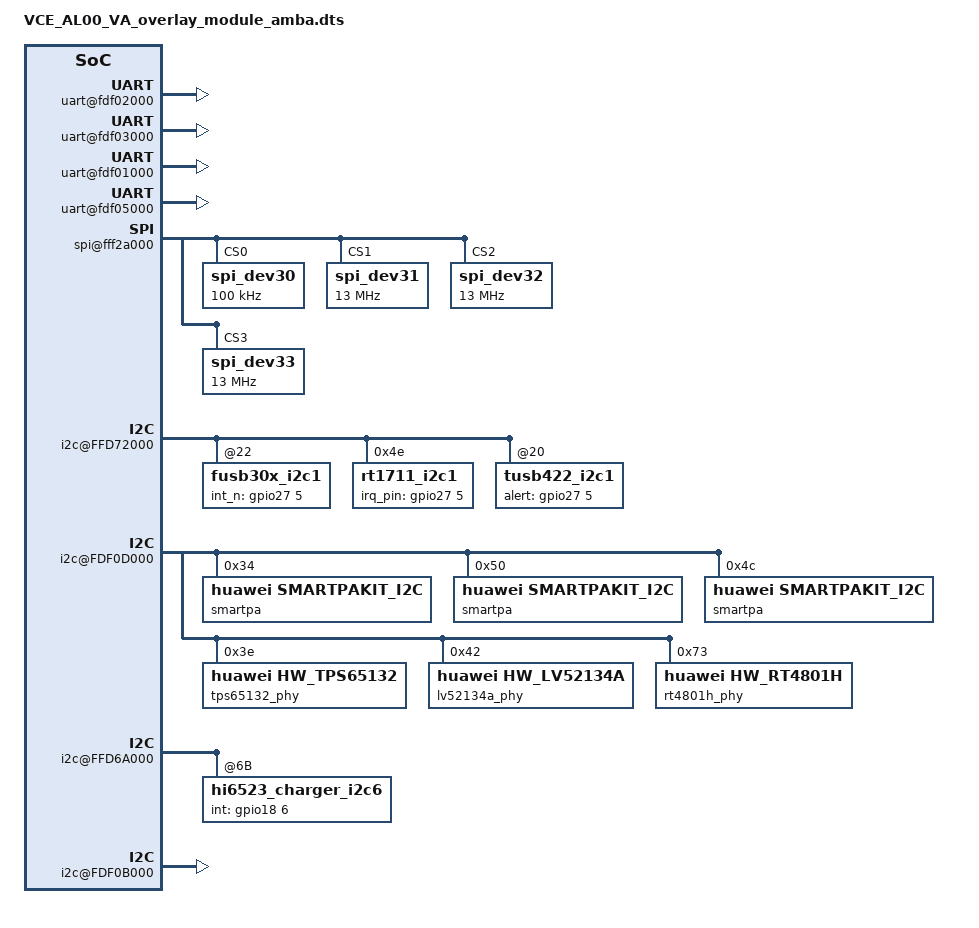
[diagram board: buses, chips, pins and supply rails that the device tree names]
&amba {
		compatible = "arm,amba-bus";
		ranges;

		/* rtc@FFF04000 {
				interrupts = <0 46 0x4>;
				clocks = <&pclk>;
				clock-names = "apb_pclk";
				status = "ok";
		};*/

		/*rtc@FFF05000 {
				interrupts = <0 47 0x4>;
				clocks = <&pclk>;
				clock-names = "apb_pclk";
				status = "ok";
		};*/

		watchdog0 {
			default-timeout = <24>;
			interrupts = <0 44 4>;
			clocks = <&pclk_gate_wd0 &pclk>;
			clock-names = "pclk_wd0", "apb_pclk";
			status = "ok";
		};

                watchdog@ffd7c000{
                        status = "ok";
                };

		/*wdt1@e8a07000 {
			interrupts = <0 45 4>;
			clocks = <&pclk_gate_wd0 &pclk>;
			clock-names = "pclk_wd0", "apb_pclk";
		};*/

		uart@fdf02000 {
			pinctrl-names = "default", "idle";
			pinctrl-0 = <&gpio035_pmx_func &gpio036_pmx_func &gpio035_cfg_func &gpio036_cfg_func>;
			pinctrl-1 = <&gpio035_pmx_idle &gpio036_pmx_idle &gpio035_cfg_idle &gpio036_cfg_idle>;
			dma-names = "", "";
			dmas = <>;
			clock-rate = <0 19200000>;
			status = "ok";
		};

		uart@fdf00000 {
			pinctrl-names = "default", "idle";
			pinctrl-0 = <>;
			pinctrl-1 = <>;
			clock-rate = <0 111000000>;
			status = "disabled";
			reset-enable-flag = <1>;
		};

		uart@fdf03000 {
			pinctrl-names = "default", "idle";
			pinctrl-0 = <>;
			pinctrl-1 = <>;
			clock-rate = <0 111000000>;
			status = "ok";
			reset-enable-flag = <1>;
		};

		uart@ffd74000 {
			pinctrl-names = "default", "idle";
			pinctrl-0 = <>;
			pinctrl-1 = <>;
			clock-rate = <0 100000000>;
			status = "disabled";
			reset-enable-flag = <0>;
		};

		uart@fdf01000 {
			pinctrl-names = "default", "idle";
			pinctrl-0 = <&gpio043_pmx_func &gpio044_pmx_func &gpio045_pmx_func &gpio046_pmx_func &gpio043_cfg_func &gpio044_cfg_func &gpio045_cfg_func &gpio046_cfg_func>;
			pinctrl-1 = <&gpio043_pmx_idle &gpio044_pmx_idle &gpio045_pmx_idle &gpio046_pmx_idle &gpio043_cfg_idle &gpio044_cfg_idle &gpio045_cfg_idle &gpio046_cfg_idle>;
			clock-rate = <0 111000000>;
			status = "ok";
			reset-enable-flag = <1>;
		};

		uart@fdf05000 {
			pinctrl-names = "default", "idle";
			pinctrl-0 = <&gpio039_pmx_func &gpio040_pmx_func &gpio041_pmx_func &gpio042_pmx_func &gpio039_cfg_func &gpio040_cfg_func &gpio041_cfg_func &gpio042_cfg_func>;
			pinctrl-1 = <&gpio039_pmx_idle &gpio040_pmx_idle &gpio041_pmx_idle &gpio042_pmx_idle &gpio039_cfg_idle &gpio040_cfg_idle &gpio041_cfg_idle &gpio042_cfg_idle>;
			clock-rate = <0 111000000>;
			status = "ok";
			reset-enable-flag = <1>;
		};

		uart@fff32000 {
			pinctrl-names = "default", "idle";
			pinctrl-0 = <&gpio037_pmx_func &gpio038_pmx_func &gpio037_cfg_func &gpio038_cfg_func>;
			pinctrl-1 = <&gpio037_pmx_idle &gpio038_pmx_idle &gpio037_cfg_idle &gpio038_cfg_idle>;
			clock-rate = <0 19200000>;
			console-fifo-enable = <1>;
			console-fifo-size = <262144>;/* 256k */
			console-fifo-cpuon = <3>;
		};

		dx_cc63p@fdf0e000 {
			interrupt-parent = <&gic>;
			interrupts = <0 135 4>;
			status = "ok";
		};

		spi@ffd70000 {
			status = "disabled";
			hardware-mutex = <0x01>;
			clock-rate = <0 134400000>;
			spi_dev0@0 {
					spi-max-frequency = <100000>;
					pl022,com-mode = <0>;
					pl022,interface = <0>;
					pl022,rx-level-trig = <3>;
					pl022,tx-level-trig = <3>;
					pl022,ctrl-len = <7>;
					pl022,wait-state = <0>;
					pl022,duplex = <0>;
					pl022,slave-tx-disable = <0>;
			};

			spi_dev1@1 {
					compatible = "spi_dev1";
					spi-max-frequency = <13000000>;
					reg = <1>;
					pl022,com-mode = <1>;
					pl022,interface = <0>;
					pl022,rx-level-trig = <3>;
					pl022,tx-level-trig = <3>;
					pl022,ctrl-len = <7>;
					pl022,wait-state = <0>;
					pl022,duplex = <0>;
					pl022,slave-tx-disable = <0>;
			};

			spi_dev2@2 {

					spi-max-frequency = <13000000>;
					reg = <2>;
					pl022,com-mode = <2>;
					pl022,interface = <0>;
					pl022,rx-level-trig = <3>;
					pl022,tx-level-trig = <3>;
					pl022,ctrl-len = <7>;
					pl022,wait-state = <0>;
					pl022,duplex = <0>;
					pl022,slave-tx-disable = <0>;
			};

			spi_dev3@3 {
					spi-max-frequency = <13000000>;
					reg = <3>;
					pl022,com-mode = <0>;
					pl022,interface = <0>;
					pl022,rx-level-trig = <3>;
					pl022,tx-level-trig = <3>;
					pl022,ctrl-len = <7>;
					pl022,wait-state = <0>;
					pl022,duplex = <0>;
					pl022,slave-tx-disable = <0>;
			};
		};

		spi@fdf08000 {
			status = "disabled";
			clock-rate = <19200000>;
			pinctrl-names = "default", "idle";
			pinctrl-0 = <&gpio008_pmx_func &gpio009_pmx_func &gpio010_pmx_func &gpio008_cfg_func &gpio009_cfg_func
					&gpio010_cfg_func>;
			pinctrl-1 = <&gpio008_pmx_idle &gpio009_pmx_idle &gpio010_pmx_idle &gpio008_cfg_idle &gpio009_cfg_idle
					&gpio010_cfg_idle>;
			spi_dev10@10 {

					spi-max-frequency = <100000>;
					reg = <0>;
					pl022,com-mode = <0>;
					pl022,interface = <0>;
					pl022,rx-level-trig = <3>;
					pl022,tx-level-trig = <3>;
					pl022,ctrl-len = <7>;
					pl022,wait-state = <0>;
					pl022,duplex = <0>;
					pl022,slave-tx-disable = <0>;
			};
		};

		spi@fff2a000 {
			status = "ok";
			hardware-mutex = <0x01>;
			smc-flag = <1>;
			sync-spinlock = <1>;
			clock-rate = <83000000>;
			pinctrl-names = "default", "idle";
			pinctrl-0 = <&gpio144_pmx_func &gpio145_pmx_func &gpio146_pmx_func &gpio144_cfg_func &gpio145_cfg_func
					&gpio146_cfg_func>;
			pinctrl-1 = <&gpio144_pmx_idle &gpio145_pmx_idle &gpio146_pmx_idle &gpio144_cfg_idle &gpio145_cfg_idle
					&gpio146_cfg_idle>;
			spi_dev30@30 {
					spi-max-frequency = <100000>;
					reg = <0>;
					pl022,com-mode = <0>;
					pl022,interface = <0>;
					pl022,rx-level-trig = <3>;
					pl022,tx-level-trig = <3>;
					pl022,ctrl-len = <7>;
					pl022,wait-state = <0>;
					pl022,duplex = <0>;
					pl022,slave-tx-disable = <0>;
			};

			spi_dev31@31 {
					spi-max-frequency = <13000000>;
					reg = <1>;
					pl022,com-mode = <1>;
					pl022,interface = <0>;
					pl022,rx-level-trig = <3>;
					pl022,tx-level-trig = <3>;
					pl022,ctrl-len = <7>;
					pl022,wait-state = <0>;
					pl022,duplex = <0>;
					pl022,slave-tx-disable = <0>;
			};

			spi_dev32@32 {
					spi-max-frequency = <13000000>;
					reg = <2>;
					pl022,com-mode = <2>;
					pl022,interface = <0>;
					pl022,rx-level-trig = <3>;
					pl022,tx-level-trig = <3>;
					pl022,ctrl-len = <7>;
					pl022,wait-state = <0>;
					pl022,duplex = <0>;
					pl022,slave-tx-disable = <0>;
			};

			spi_dev33@33 {
					spi-max-frequency = <13000000>;
					reg = <3>;
					pl022,com-mode = <0>;
					pl022,interface = <0>;
					pl022,rx-level-trig = <3>;
					pl022,tx-level-trig = <3>;
					pl022,ctrl-len = <7>;
					pl022,wait-state = <0>;
					pl022,duplex = <0>;
					pl022,slave-tx-disable = <0>;
			};
		};
		/* I2C0 ~ I2C4 */
		i2c@FFD71000 {
			status = "disabled";
			pinctrl-names = "default", "idle";
			pinctrl-0 = <>;
			pinctrl-1 = <>;
			//cs-gpios = <>, <>;
		};

		i2c@FFD72000 {
			status = "ok";
			clock-rate = <0 33600000>;
			pinctrl-names = "default", "idle";
			pinctrl-0 = <&gpio188_pmx_func &gpio189_pmx_func &gpio188_cfg_func &gpio189_cfg_func>;
			pinctrl-1 = <&gpio188_pmx_idle &gpio189_pmx_idle &gpio188_cfg_idle &gpio189_cfg_idle>;
			cs-gpios = <&gpio23 4 0>, <&gpio23 5 0>;
			rt9748@67 {
				compatible = "rt9748";
				loadswitch_int = <&gpio27 3 0>;
				loadswitch_en = <&gpio24 2 0>;
				reg = <0x67>;
				status = "disabled";
			};
			fusb30x_i2c1@22 {
				fairchild,int_n = <&gpio27 5 0>;
				status = "ok";
			};
			rt1711_i2c1@4e {
				rt1711,irq_pin = <&gpio27 5 0>;
				reg = <0x4e>;
				status = "ok";
			};
			tusb422_i2c1@20 {
				ti,alert-gpio = <&gpio27 5 0>;
				status = "ok";
			};
		};

		i2c@FFD73000 {
			status = "disabled";
			clock-rate = <0 33600000>;
			pinctrl-names = "default", "idle";
			pinctrl-0 = <&gpio190_pmx_func &gpio191_pmx_func &gpio190_cfg_func &gpio191_cfg_func>;
			pinctrl-1 = <&gpio190_pmx_idle &gpio191_pmx_idle &gpio190_cfg_idle &gpio191_cfg_idle>;
			cs-gpios = <&gpio23 6 0>, <&gpio23 7 0>;
		};

		i2c@FDF0C000 {
			status = "disabled";
			clock-rate = <0 111000000>;
			pinctrl-names = "default", "idle";
			pinctrl-0 = <&gpio006_pmx_func &gpio007_pmx_func &gpio006_cfg_func &gpio007_cfg_func>;
			pinctrl-1 = <&gpio006_pmx_idle &gpio007_pmx_idle &gpio006_cfg_idle &gpio007_cfg_idle>;
			cs-gpios = <&gpio0 6 0>, <&gpio0 7 0>;
			ti,lm36923{
				reg = <0x36>;
				status = "ok";
			};
			max77813: max77813@18 {
				compatible = "max77813";
				gpio_pok = <&gpio26 3 0>;
				reg = <0x18>;
				status = "disabled";
			};
		};

		i2c@FDF0D000 {
			status = "ok";
			clock-rate = <0 111000000>;
			pinctrl-names = "default", "idle";
			pinctrl-0 = <&gpio026_pmx_func &gpio027_pmx_func &gpio026_cfg_func &gpio027_cfg_func>;
			pinctrl-1 = <&gpio026_pmx_idle &gpio027_pmx_idle &gpio026_cfg_idle &gpio027_cfg_idle>;
			cs-gpios = <&gpio3 2 0>, <&gpio3 3 0>;
			ti-drv2605@5a{
				status = "disabled";
				ti,max-timeout-ms = <10000>;
				ti,label = "vibrator";
				reg = <0x5a>;
				compatible = "ti,drv2605";
				gpio-enable = <&gpio1 6 0>;
				lra_rated_voltage = <0x36>;
				lra_overdriver_voltage = <0x76>;
				lra_rtp_strength = <0x7F>;
			};

			smartpa@34{
				compatible = "huawei,smartpakit_i2c";
				reg = <0x34>;
				/* 0 MAXIM, 1 NXP, 2 TI, 3 OTHER, 4:huawei customize */
				chip_vendor = <4>;
				/* refer to smartpakit.out_device prop */
				chip_id = <0>;
				chip_model = "tfa9874";
				status = "ok";

				/* reg_ctl node: a node contains three data<addr value ctl_type>
				* ctl_type: 0 read reg(default), 1 write reg, 2 only time delay
				* value:
				*     read:  reg number(num >= 1)
				*     write: reg value
				*     delay: time delay
				* time delay unit: msecs */
				version_regs = <0x03 1 0>;
				dump_regs = <0 256 0>;

				hw_reset {
					gpio_reset = <134>;
					/* gpio_state node: a node contains two data<state delay>
					* time delay unit: msecs */
					ctl_sequence = <1 1 0 1>;
				};
				irq_handler {
					gpio_irq = <200>;
					/* 0x0 IRQF_TRIGGER_NONE, 0x1 IRQF_TRIGGER_RISING, 0x2 IRQF_TRIGGER_FALLING, 0x4 IRQF_TRIGGER_HIGH, 0x8 IRQF_TRIGGER_LOW*/
					irq_flags = <2>;
					/* whether or not need reset chip*/
					need_reset;
					rw_sequence = <
						0x10 1 0
						0x11 1 0
						0x13 1 0
						0x14 1 0
						0x40 1 0
						0x41 1 0
						0x42 1 0
					>;
				};

				regmap_cfg {
					reg_bits = <8>;
					val_bits = <16>;
					/* 0 REGCACHE_NONE, 1 REGCACHE_RBTREE, 2 REGCACHE_COMPRESSED, 3 REGCACHE_FLAT */
					cache_type = <0>;
					max_register = <0xff>;
					reg_defaults = <
						0x00 0x1801
						0x01 0x0014
					>;
				};
			};

			smartpa@50{
				compatible = "huawei,smartpakit_i2c";
				reg = <0x50>;
				/* 0 MAXIM, 1 NXP, 2 TI, 3 OTHER, 4:huawei customize */
				chip_vendor = <4>;
				/* refer to smartpakit.out_device prop */
				chip_id = <0>;
				chip_model = "cs35l36";
				status = "ok";

				/* reg_ctl node: a node contains three data<addr value ctl_type>
				* ctl_type: 0 read reg(default), 1 write reg, 2 only time delay
				* value:
				*     read:  reg number(num >= 1)
				*     write: reg value
				*     delay: time delay
				* time delay unit: msecs */
				version_regs = <0x0 1 0>;
				dump_regs = <
					0x000000 1          0
					0x000008 1          0
					0x002014 0x21       0
					0x002400 1          0
					0x002c04 0xd        0
					0x003800 0x31       0
					0x004004 1          0
					0x004220 1          0
					0x004300 1          0
					0x004800 0x3d       0
					0x004C00 1          0
					0x004C20 0x15       0
					0x006000 1          0
					0x006404 0x11       0
					0x006450 1          0
					0x006800 0x9        0
					0x006C04 1          0
					0xd00000 0x4d       0
					0xe02800 1          0>;

				hw_reset {
					gpio_reset = <134>;
					/* gpio_state node: a node contains two data<state delay>
					* time delay unit: msecs */
					ctl_sequence = <1 1 0 1>;
				};

				irq_handler {
					gpio_irq = <200>;
					/* 0x0 IRQF_TRIGGER_NONE, 0x1 IRQF_TRIGGER_RISING, 0x2 IRQF_TRIGGER_FALLING, 0x4 IRQF_TRIGGER_HIGH, 0x8 IRQF_TRIGGER_LOW*/
					irq_flags = <2>;
					/* whether or not need reset chip*/
					need_reset;
					rw_sequence = <
						0xd00020 1          0
						0xd00024 1          0
						0xd00028 1          0
						0xd0002c 1          0
						0xd00000 0xffffffff 1
						0xd00004 0xffffffff 1
						0xd00008 0xffffffff 1
						0xd0000c 0xffffffff 1
					>;
				};

				regmap_cfg {
					reg_bits = <32>;
					val_bits = <32>;
					/* 0 REGCACHE_NONE, 1 REGCACHE_RBTREE, 2 REGCACHE_COMPRESSED, 3 REGCACHE_FLAT */
					cache_type = <0>;
					max_register = <0xe0ffff>;
				};
			};

			smartpa@4C {
				compatible = "huawei,smartpakit_i2c";
				reg = <0x4C>;
				/* 0 MAXIM, 1 NXP, 2 TI, 3 OTHER, 4:huawei customize */
				chip_vendor = <4>;
				/* refer to smartpakit.out_device prop */
				chip_id = <0>;
				chip_model = "tas2562";
				/* maybe trigger one irq after some chip reset, ext. tas2560
				* debounce wait time unit: msecs */
				reset_debounce_wait_time = <100>;
				status = "ok";

				/* reg_ctl node: a node contains three data<addr value ctl_type>
				* ctl_type: 0 read reg(default), 1 write reg, 2 only time delay
				* value:
				*     read:  reg number(num >= 1)
				*     write: reg value
				*     delay: time delay
				* time delay unit: msecs */
				version_regs = <
					0	0	1
					125	1	0
					>;
				dump_regs = <
					0	0	1
					0	128	0
					0	50	1
					0	128	0
					0	51	1
					0	128	0
					0	52	1
					0	128	0
				>;
				hw_reset {
					gpio_reset = <134>;
					/* gpio_state node: a node contains two data<state delay>
					* time delay unit: msecs */
					ctl_sequence = <0 3 1 2>;
				};

				irq_handler {
					gpio_irq = <200>;
					/* 0x0 IRQF_TRIGGER_NONE, 0x1 IRQF_TRIGGER_RISING, 0x2 IRQF_TRIGGER_FALLING, 0x4 IRQF_TRIGGER_HIGH, 0x8 IRQF_TRIGGER_LOW*/
					irq_flags = <2>;
					/* whether or not need reset chip*/
					need_reset;
					rw_sequence = <
						0	20	2
						0	0	1
						26	1	0
						27	1	0
						31	1	0
						32	1	0
						36	1	0
						37	1	0
						2	1	0
						120	1	0
					>;
				};

				regmap_cfg {
					reg_bits = <8>;
					val_bits = <8>;
					/* 0 REGCACHE_NONE, 1 REGCACHE_RBTREE, 2 REGCACHE_COMPRESSED, 3 REGCACHE_FLAT */
					cache_type = <0>;
					max_register = <128>;
				};
			};

			huawei,lm3646@67{
				status = "disable";
			};

			huawei,mp3336@27{
				status = "disable";
			};

			tps65132_phy: tps65132@3e {
				status = "ok";
				reg = <0x3e>;
				compatible = "huawei,hw_tps65132";
			};

			lv52134a_phy: lv52134a@42 {
				status = "ok";
				reg = <0x42>;
				compatible = "huawei,hw_lv52134a";
			};

			rt4801h_phy: rt4801h@73 {
				status = "ok";
				reg = <0x73>;
				compatible = "huawei,hw_rt4801h";
			};

			tusb320_typec:typec@47{
				reg = <0x47>;
				tusb320_typec,gpio_enb = <&gpio1 2 0>;
				tusb320_typec,gpio_intb = <&gpio27 5 0>;
				tusb320_gpio_enb = <1>;
				typec_trigger_otg = <1>;
				tusb320_mdelay = <50>;
				status = "disabled";
			};
			fusb301_typec: typec@21 {
				reg = <0x21>;
				fusb301_typec,gpio_enb = <&gpio1 2 0>;
				fusb301_typec,gpio_intb = <&gpio27 5 0>;
				fusb301_gpio_enb = <1>;
				typec_trigger_otg = <1>;
				status = "disabled";
			};
			pericom30216_typec: typec@1d {
				reg = <0x1d>;
				pericom30216_typec,gpio_enb = <&gpio1 2 0>;
				pericom30216_typec,gpio_intb = <&gpio27 5 0>;
				pericom30216_gpio_enb = <1>;
				typec_trigger_otg = <1>;
				pericom30216_mdelay = <50>;
				status = "disabled";
			};
			ptn5150h_typec: typec@1E {
				reg = <0x1e>;
				ptn5150h_typec,gpio_enb = <&gpio1 2 0>;
				ptn5150h_typec,gpio_intb = <&gpio27 5 0>;
				ptn5150h_gpio_enb = <1>;
				typec_trigger_otg = <1>;
				status = "disabled";
			};
		};

		i2c@FFD6A000 {
			status = "ok";
			clock-rate = <0 33600000>;
			pinctrl-names = "default", "idle";
			pinctrl-0 = <&gpio199_pmx_func &gpio198_pmx_func &gpio199_cfg_func &gpio198_cfg_func>;
			pinctrl-1 = <&gpio199_pmx_idle &gpio198_pmx_idle &gpio199_cfg_idle &gpio198_cfg_idle>;
			cs-gpios = <&gpio24 7 0>, <&gpio24 6 0>;
			hi6523_charger_i2c6: hi6523_charger_i2c6@6B{
				status = "ok";
				fcp_support = <1>;
				scp_support = <0>;
				vclamp = <100>;
				bat_comp = <30>;
				gpio_int = <&gpio18 6 0>;
				ico_current_mode = <0>;
			};
		};

		i2c@FDF0B000 {
			status = "ok";
			clock-rate = <0 111000000>;
			pinctrl-names = "default", "idle";
			pinctrl-0 = <&gpio190_pmx_func &gpio191_pmx_func &gpio190_cfg_func &gpio191_cfg_func>;
			pinctrl-1 = <&gpio190_pmx_idle &gpio191_pmx_idle &gpio190_cfg_idle &gpio191_cfg_idle>;
			cs-gpios = <&gpio23 6 0>, <&gpio23 7 0>;
		};
	};
